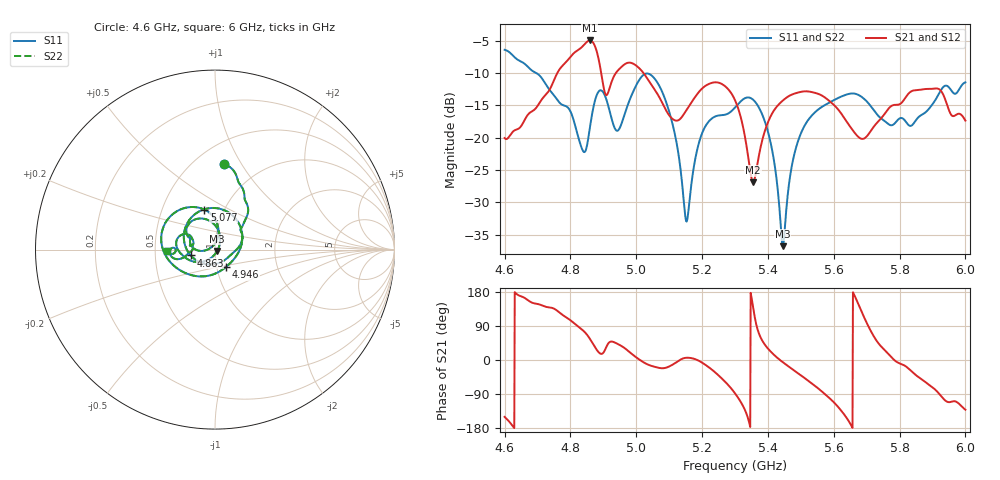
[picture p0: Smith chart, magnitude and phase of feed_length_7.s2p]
! TOUCHSTONE file generated by CST MICROWAVE STUDIO
! Date and time: Mon Dec  2 05:46:49 2024
! Project name: test_tuning.cst
! Parameters = {airCoaxOuterDiameter=3; chamferAngle=45; chamferWidth=24; connectorLength=10; drillingHoleDiameter=4.1; feedLength=90; flareDiameter=130; flareLength=70; gratingDistance=0; gratingGap=1.90274; outletLength=30; polarizerLength=134; probe1Diameter=1.3; probe1Distance=14; probe1Length=1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
! Header version: 2024
! Port assignment regex: !\s*Touchstone port\s*([0-9]+)\s*=\s*(CST MWS port|CST DES external port|CST DES block port)\s*(.+)\s* \(\"(.*)\"\)(\s*mode\s*([0-9]+))?.*
! Touchstone port assignment:
! Touchstone port 1 = CST MWS port 1 ("Input1")
! Touchstone port 2 = CST MWS port 2 ("Input2")
# GHz S MA R 50
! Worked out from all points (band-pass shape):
!   1001 points, 4.6 GHz to 6 GHz, reference 50 ohm
!   highest |S21| = -4.94 dB at 4.859 GHz (marker M1); lowest = -26.9 dB at 5.355 GHz (marker M2)
!   |S21| within 3 dB of the highest: 4.792 GHz to 4.886 GHz (93.63 MHz wide, 1.93 % of centre)
!   lowest |S11| = -36.8 dB at 5.446 GHz (marker M3), VSWR 1.03, Z = 51.3 - j0.764 ohm
!   |S11| at or under -10 dB: 4.697 GHz to end of sweep
!   |S22| runs from -36.8 to -6.4 dB; largest |S21 - S12| = 8e-07
!   S11 on the Smith chart (normalised r, x): 4.6 GHz: 0.68, +0.84; 4.863 GHz: 0.76, -0.05; 4.946 GHz: 1.11, -0.22; 5.077 GHz: 0.81, +0.38; 6 GHz: 0.58, -0.01
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4.6  0.4792 84.1  0.09955 -150.0  0.09955 -150.0  0.4792 84.1
4.761  0.1951 39.9  0.32 129.2  0.32 129.2  0.1951 39.9
4.8338  0.08375 -32.8  0.5006 81.2  0.5006 81.2  0.08375 -32.8
4.859  0.119 -149.3  0.5661 56.0  0.5661 56.0  0.119 -149.3
4.8632  0.1394 -166.6  0.5626 50.2  0.5626 50.2  0.1394 -166.6
4.908  0.2019 51.5  0.2141 32.3  0.2141 32.3  0.2019 51.5
4.9458  0.1148 -58.4  0.3349 41.4  0.3349 41.4  0.1148 -58.4
5.0158  0.2961 176.1  0.3311 -2.6  0.3311 -2.6  0.2961 176.1
5.0676  0.2585 114.0  0.2113 -20.5  0.2113 -20.5  0.2585 114.0
5.0774  0.2308 104.9  0.1898 -21.8  0.1898 -21.8  0.2308 104.9
5.153  0.02246 133.1  0.1648 5.9  0.1648 5.9  0.02246 133.1
5.2034  0.1137 178.4  0.2447 -8.9  0.2448 -8.9  0.1137 178.4
5.3  0.1713 153.4  0.1954 -87.9  0.1954 -87.9  0.1713 153.4
5.3546  0.1974 119.4  0.04538 141.3  0.04538 141.3  0.1974 119.4
5.4078  0.09261 74.4  0.1458 22.8  0.1458 22.8  0.09261 74.4
5.4456  0.0145 -30.9  0.1944 -6.0  0.1944 -6.0  0.0145 -30.9
5.4806  0.07531 -127.3  0.2196 -28.4  0.2196 -28.4  0.07531 -127.3
5.5338  0.1491 -155.6  0.2256 -62.2  0.2256 -62.2  0.1491 -155.6
5.685  0.2069 157.3  0.0981 126.9  0.0981 126.9  0.2069 157.3
5.7676  0.1268 161.0  0.1694 14.5  0.1694 14.5  0.1268 161.0
5.9132  0.2049 -165.1  0.2408 -82.4  0.2408 -82.4  0.2049 -165.1
6  0.2683 -178.0  0.1358 -131.2  0.1358 -131.2  0.2683 -178.0
